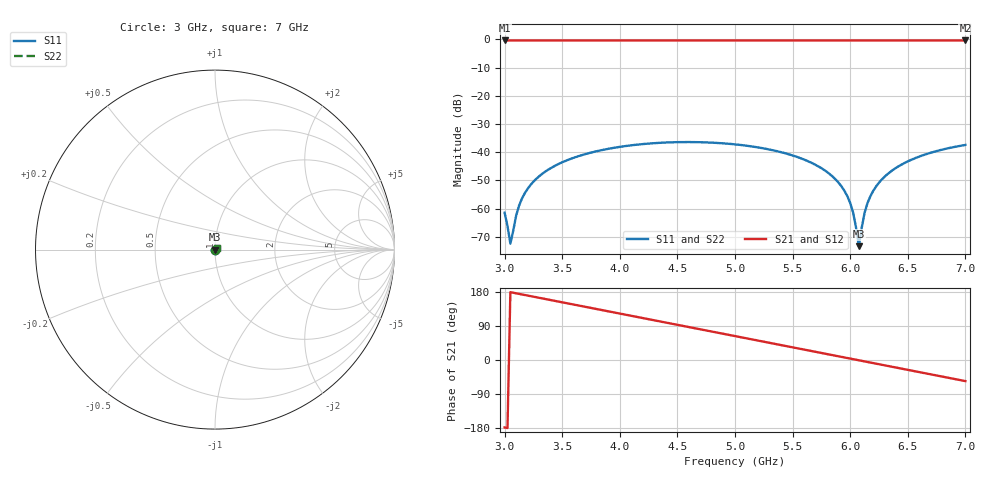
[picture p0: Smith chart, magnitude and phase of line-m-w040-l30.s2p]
! yapnr rf: line-osh-m-w0p40-l30-m-eq, footprint re-simulated (optimization grid)
! spec sha256 93efc452bfd48fee5051a369a1c3becba0fb20a11185e4caa431d78a41ce2660
! 2 ports renormalized to 50 ohm, e^(+jwt) convention
# GHz S RI R 50
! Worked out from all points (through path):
!   161 points, 3 GHz to 7 GHz, reference 50 ohm
!   highest |S21| = -0.38 dB at 3 GHz (marker M1); lowest = -0.4 dB at 7 GHz (marker M2)
!   group delay of S21, straight-line fit = 165 ps
!   lowest |S11| = -73.3 dB at 6.075 GHz (marker M3), VSWR 1.00, Z = 50 - j0.00148 ohm
!   |S11| at or under -10 dB: start of sweep to end of sweep
!   |S22| runs from -73.3 to -36.4 dB; largest |S21 - S12| = 0
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3  0.000229 -0.000812  -0.9568 -0.0325  -0.9568 -0.0325  0.000229 -0.000812
3.05  0.000231 -6.34e-05  -0.9572 0.0171  -0.9572 0.0171  0.000231 -6.34e-05
3.1  0.00031 0.000683  -0.955 0.0666  -0.955 0.0666  0.00031 0.000683
3.125  0.000378 0.00105  -0.953 0.0913  -0.953 0.0913  0.000378 0.00105
3.225  0.000837 0.00248  -0.9384 0.1894  -0.9384 0.1894  0.000837 0.00248
3.4  0.00231 0.00466  -0.8889 0.3555  -0.8889 0.3555  0.00231 0.00466
3.675  0.00589 0.0067  -0.7531 0.591  -0.7531 0.591  0.00589 0.0067
4.35  0.0144 0.00253  -0.1957 0.937  -0.1957 0.937  0.0144 0.00253
4.675  0.0149 -0.00235  0.1251 0.949  0.1251 0.949  0.0149 -0.00235
5  0.0122 -0.00642  0.4318 0.8543  0.4318 0.8543  0.0122 -0.00642
5.375  0.0067 -0.00783  0.7235 0.6268  0.7235 0.6268  0.0067 -0.00783
5.675  0.00254 -0.00579  0.8807 0.3752  0.8807 0.3752  0.00254 -0.00579
5.825  0.00112 -0.00389  0.9282 0.2342  0.9282 0.2342  0.00112 -0.00389
5.95  0.000415 -0.00202  0.9507 0.1122  0.9507 0.1122  0.000415 -0.00202
6.025  0.000233 -0.000825  0.9565 0.0379  0.9565 0.0379  0.000233 -0.000825
6.075  0.000215 -1.48e-05  0.9572 -0.0118  0.9572 -0.0118  0.000215 -1.48e-05
6.125  0.000281 0.000796  0.9553 -0.0614  0.9553 -0.0614  0.000281 0.000796
6.175  0.00043 0.0016  0.9508 -0.1108  0.9508 -0.1108  0.00043 0.0016
6.25  0.000808 0.00277  0.9393 -0.1844  0.9393 -0.1844  0.000808 0.00277
6.35  0.00159 0.00422  0.9152 -0.2808  0.9152 -0.2808  0.00159 0.00422
6.625  0.00507 0.00711  0.7991 -0.5271  0.7991 -0.5271  0.00507 0.00711
7  0.0113 0.00732  0.5392 -0.7908  0.5392 -0.7908  0.0113 0.00732
